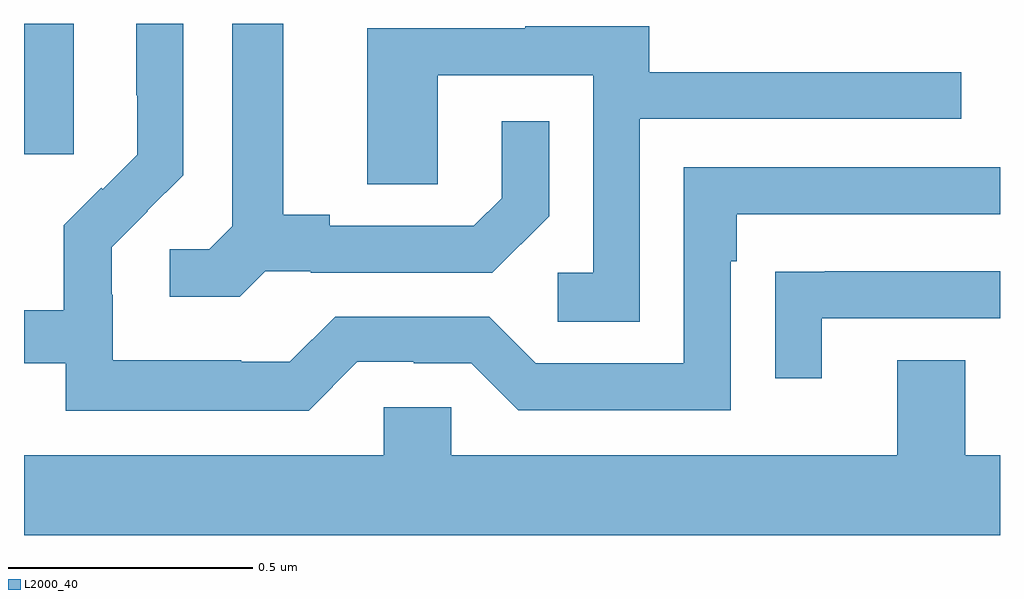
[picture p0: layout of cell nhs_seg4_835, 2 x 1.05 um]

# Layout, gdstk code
import gdstk
lib = gdstk.Library(unit=1e-6, precision=1e-09)
def R(c, l, rs):  # rectangles x0, y0, x1, y1
    for r in rs: c.add(gdstk.rectangle(r[:2], r[2:], *l))
def P(c, l, *ps):  # polygons
    for p in ps: c.add(gdstk.Polygon(p, *l))
L2000_40 = (2000, 40)

nhs_seg4_835 = lib.new_cell('nhs_seg4_835')
R(nhs_seg4_835, L2000_40, [(121,765.633,121.102,765.9)])
P(nhs_seg4_835, L2000_40, [(121.494,765.393),(121.588,765.393),(121.588,765.39),(121.96,765.39),(122.076,765.506),(122.076,765.7),(121.979,765.7),(121.979,765.543),(121.922,765.486),(121.627,765.486),(121.627,765.509),(121.531,765.509),(121.531,765.9),(121.427,765.9),(121.427,765.485),(121.38,765.438),(121.299,765.438),(121.299,765.341),(121.442,765.341)],
  [(121.683,765.207),(121.799,765.207),(121.799,765.204),(121.917,765.204),(122.013,765.108),(122.448,765.108),(122.448,765.413),(122.461,765.413),(122.461,765.51),(123,765.51),(123,765.606),(122.352,765.606),(122.352,765.204),(122.049,765.204),(121.953,765.3),(121.638,765.3),(121.545,765.207),(121.445,765.207),(121.445,765.211),(121.182,765.211),(121.182,765.345),(121.18,765.345),(121.18,765.442),(121.254,765.516),(121.253,765.517),(121.326,765.59),(121.326,765.9),(121.23,765.9),(121.23,765.754),(121.232,765.754),(121.232,765.632),(121.161,765.561),(121.158,765.564),(121.081,765.487),(121.081,765.313),(121,765.313),(121,765.204),(121.086,765.204),(121.086,765.107),(121.583,765.107)],
  [(122.262,765.705),(122.921,765.705),(122.921,765.801),(122.281,765.801),(122.281,765.895),(122.027,765.895),(122.027,765.891),(121.703,765.891),(121.703,765.571),(121.848,765.571),(121.848,765.795),(122.166,765.795),(122.166,765.39),(122.094,765.39),(122.094,765.289),(122.262,765.289)],
  [(122.635,765.297),(123,765.297),(123,765.393),(122.641,765.393),(122.641,765.392),(122.539,765.392),(122.539,765.174),(122.635,765.174)],
  [(123,765.016),(122.929,765.016),(122.929,765.211),(122.789,765.211),(122.789,765.016),(121.875,765.016),(121.875,765.114),(121.737,765.114),(121.737,765.016),(121,765.016),(121,764.852),(123,764.852)])

lib.write_gds('nhs_seg4_835.gds')
